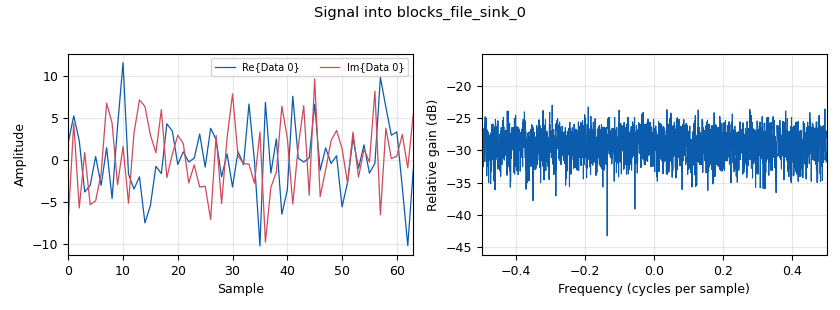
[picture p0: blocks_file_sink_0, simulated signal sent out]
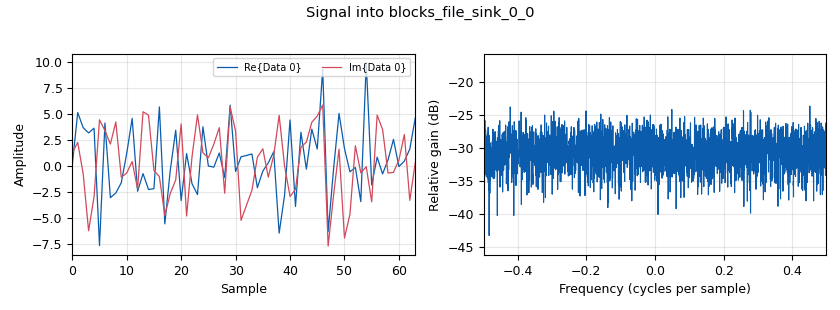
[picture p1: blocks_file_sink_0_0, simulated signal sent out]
options:
  parameters:
    generate_options: qt_gui
    id: passive_radar
    output_language: python
    title: Not titled yet
  states: {}

blocks:
- name: samp_rate
  id: variable
  parameters:
    value: '32000'
  states: {}
- name: vector_length
  id: variable
  parameters:
    value: '1024'
  states: {}
- name: analog_noise_source_x_0
  id: analog_noise_source_x
  parameters:
    amp: '1'
    noise_type: analog.GR_GAUSSIAN
    seed: '0'
    type: complex
  states: {}
- name: analog_noise_source_x_1
  id: analog_noise_source_x
  parameters:
    amp: '5'
    noise_type: analog.GR_GAUSSIAN
    seed: '0'
    type: complex
  states: {}
- name: blocks_add_xx_0
  id: blocks_add_xx
  parameters:
    type: complex
  states: {}
- name: blocks_add_xx_0_0
  id: blocks_add_xx
  parameters:
    type: complex
  states: {}
- name: blocks_delay_0
  id: blocks_delay
  parameters:
    delay: '512'
    type: complex
  states: {}
- name: blocks_delay_0_0
  id: blocks_delay
  parameters:
    delay: '0'
    type: complex
  states: {}
- name: blocks_file_sink_0
  id: blocks_file_sink
  parameters:
    file: /home/owen/gr-iio-marp/passive_radar/data/ref
    type: complex
  states: {}
- name: blocks_file_sink_0_0
  id: blocks_file_sink
  parameters:
    file: /home/owen/gr-iio-marp/passive_radar/data/surv
    type: complex
  states: {}
- name: blocks_throttle_0
  id: blocks_throttle
  parameters:
    samples_per_second: samp_rate
    type: complex
  states: {}
- name: blocks_throttle_0_0
  id: blocks_throttle
  parameters:
    samples_per_second: samp_rate
    type: complex
  states: {}

connections:
- [analog_noise_source_x_0, '0', blocks_throttle_0_0, '0']
- [analog_noise_source_x_1, '0', blocks_throttle_0, '0']
- [blocks_add_xx_0, '0', blocks_file_sink_0, '0']
- [blocks_add_xx_0_0, '0', blocks_file_sink_0_0, '0']
- [blocks_delay_0, '0', blocks_add_xx_0_0, '0']
- [blocks_delay_0_0, '0', blocks_add_xx_0, '1']
- [blocks_throttle_0, '0', blocks_add_xx_0, '0']
- [blocks_throttle_0, '0', blocks_delay_0, '0']
- [blocks_throttle_0_0, '0', blocks_add_xx_0_0, '1']
- [blocks_throttle_0_0, '0', blocks_delay_0_0, '0']

metadata:
  file_format: 1
